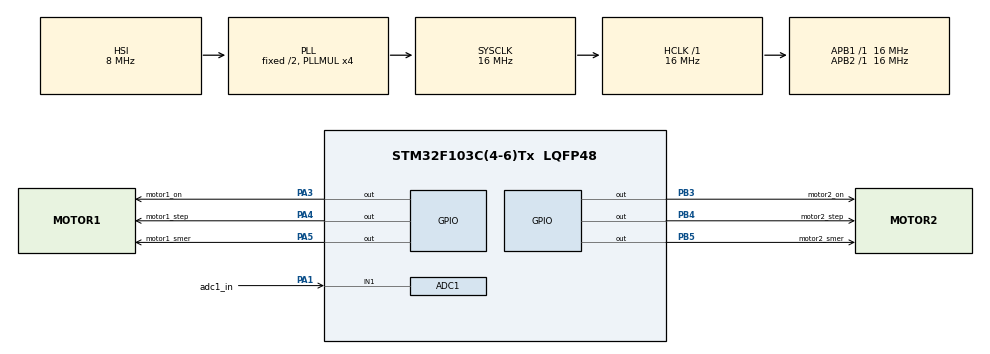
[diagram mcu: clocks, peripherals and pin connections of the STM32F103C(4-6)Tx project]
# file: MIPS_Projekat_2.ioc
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ADC1.Channel-0\#ChannelRegularConversion=ADC_CHANNEL_1
ADC1.NbrOfConversionFlag=1
ADC1.Rank-0\#ChannelRegularConversion=1
ADC1.SamplingTime-0\#ChannelRegularConversion=ADC_SAMPLETIME_1CYCLE_5
ADC1.master=1
Mcu.Family=STM32F1
Mcu.Name=STM32F103C(4-6)Tx
Mcu.Package=LQFP48
NVIC.ADC1_2_IRQn=true\:0\:0\:false\:false\:true\:true\:true\:true
NVIC.PriorityGroup=NVIC_PRIORITYGROUP_4
NVIC.TIM2_IRQn=true\:0\:0\:false\:false\:true\:true\:true\:true
PA1.GPIO_Label=adc1_in
PA1.Signal=ADCx_IN1
PA3.GPIO_Label=motor1_on
PA3.Signal=GPIO_Output
PA4.GPIO_Label=motor1_step
PA4.Signal=GPIO_Output
PA5.GPIO_Label=motor1_smer
PA5.Signal=GPIO_Output
PB3.GPIO_Label=motor2_on
PB3.Signal=GPIO_Output
PB4.GPIO_Label=motor2_step
PB4.Signal=GPIO_Output
PB5.GPIO_Label=motor2_smer
PB5.Signal=GPIO_Output
ProjectManager.HeapSize=0x200
ProjectManager.StackSize=0x400
ProjectManager.TargetToolchain=STM32CubeIDE
RCC.AHBFreq_Value=16000000
RCC.APB1Freq_Value=16000000
RCC.APB1TimFreq_Value=16000000
RCC.APB2Freq_Value=16000000
RCC.APB2TimFreq_Value=16000000
RCC.HCLKFreq_Value=16000000
RCC.PLLMUL=RCC_PLL_MUL4
RCC.SYSCLKFreq_VALUE=16000000
RCC.SYSCLKSource=RCC_SYSCLKSOURCE_PLLCLK
RCC.USBFreq_Value=16000000
SH.ADCx_IN1.0=ADC1_IN1,IN1
TIM2.AutoReloadPreload=TIM_AUTORELOAD_PRELOAD_ENABLE
TIM2.Period=35999
TIM2.Prescaler=39999
VP_SYS_VS_ND.Mode=No_Debug
VP_TIM2_VS_ClockSourceINT.Mode=Internal
board=custom

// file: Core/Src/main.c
/* USER CODE BEGIN Header */
/**
  ******************************************************************************
  * @file           : main.c
  * @brief          : Main program body
  ******************************************************************************
  * @attention
  *
  * Copyright (c) 2023 STMicroelectronics.
  * All rights reserved.
  *
  * This software is licensed under terms that can be found in the LICENSE file
  * in the root directory of this software component.
  * If no LICENSE file comes with this software, it is provided AS-IS.
  *
  ******************************************************************************
  */
/* USER CODE END Header */
#include "main.h"

ADC_HandleTypeDef hadc1;

TIM_HandleTypeDef htim2;

/* USER CODE BEGIN PV */
uint8_t maxTemperatura  = 75;
uint8_t epruvete[] = {3, 1, 4, 1, 0, 1, 1, 2, 3, 3, 4, 2, 3, 0, 3};
int targetEpruveta = 2;
uint8_t flag;
uint16_t indeks = 0; /*prvobitno je zamisljeno da se ova promenljiva zove index ali da bih izbegao warning sam preimenovao */
uint16_t brojac = 0;
/* USER CODE END PV */

void SystemClock_Config(void);
static void MX_GPIO_Init(void);
static void MX_ADC1_Init(void);
static void MX_TIM2_Init(void);
/* USER CODE BEGIN PFP */
double racunajTemperaturu()
{
	HAL_ADC_Start(&hadc1);
	HAL_ADC_PollForConversion(&hadc1, HAL_MAX_DELAY);
	uint16_t ADC = HAL_ADC_GetValue(&hadc1);

	double volt = (double)ADC * (3.3 / 4096);
	double temperatura = (volt - 0.5) * 100.0;
	return temperatura;
}
void HAL_TIM_PeriodElapsedCallback(TIM_HandleTypeDef *htim)
{
	double temperatura = racunajTemperaturu();
	if (temperatura >= maxTemperatura)
	{
		flag = 1;
	}
	else
	{
		flag = 0;
	}
}

void dodjiNaTarget(uint8_t* niz,uint16_t pozicija, uint8_t target)
{
	HAL_GPIO_WritePin(GPIOA, motor1_on_Pin, GPIO_PIN_SET);
	uint8_t i = 0;
	uint8_t levo, desno;
	levo = 0;
	desno = 0;
	while (niz[pozicija + i] != target)
	{
		i--;
		if ((pozicija + i) < 0)
		{
			pozicija = 14;
		}
		levo ++;
	}
	i=0;
	while (niz[pozicija + i] != target)
	{
		i++;
		if ((pozicija + i) > 14)
		{
			pozicija = 0;
		}
		desno ++;
	}
	if (levo >= desno)
	{
		HAL_GPIO_WritePin(GPIOA, motor1_smer_Pin, GPIO_PIN_SET);
		for (i=0; i<desno*13; i++)
		{
			HAL_GPIO_WritePin(GPIOA, motor1_step_Pin, GPIO_PIN_SET);
			HAL_Delay(100);
			HAL_GPIO_WritePin(GPIOA, motor1_step_Pin, GPIO_PIN_RESET);
			HAL_Delay(100);
		}
	}
	else
	{
		HAL_GPIO_WritePin(GPIOA, motor1_smer_Pin, GPIO_PIN_RESET);
		for (i=0; i<levo*13; i++)
		{
			HAL_GPIO_WritePin(GPIOA, motor1_step_Pin, GPIO_PIN_SET);
			HAL_Delay(100);
			HAL_GPIO_WritePin(GPIOA, motor1_step_Pin, GPIO_PIN_RESET);
			HAL_Delay(100);
		}
	}

}
/* USER CODE END PFP */

int main(void)
{

  /* MCU Configuration--------------------------------------------------------*/

  /* Reset of all peripherals, Initializes the Flash interface and the Systick. */
  HAL_Init();

  /* Configure the system clock */
  SystemClock_Config();

  /* Initialize all configured peripherals */
  MX_GPIO_Init();
  MX_ADC1_Init();
  MX_TIM2_Init();
  /* USER CODE BEGIN 2 */
  HAL_TIM_Base_Start_IT(&htim2);
  /* USER CODE END 2 */

  /* Infinite loop */
  while (1)
  {
	while(flag == 0)
	{
	 	HAL_GPIO_WritePin(GPIOA, motor1_step_Pin, GPIO_PIN_SET);
	 	HAL_Delay(100);
	 	HAL_GPIO_WritePin(GPIOA, motor1_step_Pin, GPIO_PIN_RESET);
	 	HAL_Delay(100);
	 	brojac++;
	 	if (brojac == 13)
	 	{
	 		indeks ++;
	 		brojac = 0;
	 		if (indeks == 14)
	 			{
	 				  indeks = 0;
	 			}
	 	}
	}
	if (flag == 1)
	{
		HAL_GPIO_WritePin(GPIOA, motor1_on_Pin, GPIO_PIN_RESET);
		dodjiNaTarget(epruvete, indeks, targetEpruveta);
		/*Odnosenje epruvete uz pomoc motora2 */
		HAL_GPIO_WritePin(GPIOB, motor2_on_Pin, GPIO_PIN_SET);
		HAL_GPIO_WritePin(GPIOB, motor2_smer_Pin, GPIO_PIN_RESET);
		for (uint8_t i=0; i<200; i++)
		{
			HAL_GPIO_WritePin(GPIOB, motor2_step_Pin, GPIO_PIN_SET);
			HAL_Delay(100);
			HAL_GPIO_WritePin(GPIOB, motor2_step_Pin, GPIO_PIN_RESET);
			HAL_Delay(100);
		}
	}
  }
}

void SystemClock_Config(void)
{
  RCC_OscInitTypeDef RCC_OscInitStruct = {0};
  RCC_ClkInitTypeDef RCC_ClkInitStruct = {0};
  RCC_PeriphCLKInitTypeDef PeriphClkInit = {0};

  /** Initializes the RCC Oscillators according to the specified parameters
  * in the RCC_OscInitTypeDef structure.
  */
  RCC_OscInitStruct.OscillatorType = RCC_OSCILLATORTYPE_HSI;
  RCC_OscInitStruct.HSIState = RCC_HSI_ON;
  RCC_OscInitStruct.HSICalibrationValue = RCC_HSICALIBRATION_DEFAULT;
  RCC_OscInitStruct.PLL.PLLState = RCC_PLL_ON;
  RCC_OscInitStruct.PLL.PLLSource = RCC_PLLSOURCE_HSI_DIV2;
  RCC_OscInitStruct.PLL.PLLMUL = RCC_PLL_MUL4;
  if (HAL_RCC_OscConfig(&RCC_OscInitStruct) != HAL_OK)
  {
    Error_Handler();
  }

  /** Initializes the CPU, AHB and APB buses clocks
  */
  RCC_ClkInitStruct.ClockType = RCC_CLOCKTYPE_HCLK|RCC_CLOCKTYPE_SYSCLK
                              |RCC_CLOCKTYPE_PCLK1|RCC_CLOCKTYPE_PCLK2;
  RCC_ClkInitStruct.SYSCLKSource = RCC_SYSCLKSOURCE_PLLCLK;
  RCC_ClkInitStruct.AHBCLKDivider = RCC_SYSCLK_DIV1;
  RCC_ClkInitStruct.APB1CLKDivider = RCC_HCLK_DIV1;
  RCC_ClkInitStruct.APB2CLKDivider = RCC_HCLK_DIV1;

  if (HAL_RCC_ClockConfig(&RCC_ClkInitStruct, FLASH_LATENCY_0) != HAL_OK)
  {
    Error_Handler();
  }
  PeriphClkInit.PeriphClockSelection = RCC_PERIPHCLK_ADC;
  PeriphClkInit.AdcClockSelection = RCC_ADCPCLK2_DIV2;
  if (HAL_RCCEx_PeriphCLKConfig(&PeriphClkInit) != HAL_OK)
  {
    Error_Handler();
  }
}

static void MX_ADC1_Init(void)
{

  ADC_ChannelConfTypeDef sConfig = {0};

  /** Common config
  */
  hadc1.Instance = ADC1;
  hadc1.Init.ScanConvMode = ADC_SCAN_DISABLE;
  hadc1.Init.ContinuousConvMode = DISABLE;
  hadc1.Init.DiscontinuousConvMode = DISABLE;
  hadc1.Init.ExternalTrigConv = ADC_SOFTWARE_START;
  hadc1.Init.DataAlign = ADC_DATAALIGN_RIGHT;
  hadc1.Init.NbrOfConversion = 1;
  if (HAL_ADC_Init(&hadc1) != HAL_OK)
  {
    Error_Handler();
  }

  /** Configure Regular Channel
  */
  sConfig.Channel = ADC_CHANNEL_1;
  sConfig.Rank = ADC_REGULAR_RANK_1;
  sConfig.SamplingTime = ADC_SAMPLETIME_1CYCLE_5;
  if (HAL_ADC_ConfigChannel(&hadc1, &sConfig) != HAL_OK)
  {
    Error_Handler();
  }

}

static void MX_TIM2_Init(void)
{

  TIM_ClockConfigTypeDef sClockSourceConfig = {0};
  TIM_MasterConfigTypeDef sMasterConfig = {0};

  htim2.Instance = TIM2;
  htim2.Init.Prescaler = 39999;
  htim2.Init.CounterMode = TIM_COUNTERMODE_UP;
  htim2.Init.Period = 35999;
  htim2.Init.ClockDivision = TIM_CLOCKDIVISION_DIV1;
  htim2.Init.AutoReloadPreload = TIM_AUTORELOAD_PRELOAD_ENABLE;
  if (HAL_TIM_Base_Init(&htim2) != HAL_OK)
  {
    Error_Handler();
  }
  sClockSourceConfig.ClockSource = TIM_CLOCKSOURCE_INTERNAL;
  if (HAL_TIM_ConfigClockSource(&htim2, &sClockSourceConfig) != HAL_OK)
  {
    Error_Handler();
  }
  sMasterConfig.MasterOutputTrigger = TIM_TRGO_RESET;
  sMasterConfig.MasterSlaveMode = TIM_MASTERSLAVEMODE_DISABLE;
  if (HAL_TIMEx_MasterConfigSynchronization(&htim2, &sMasterConfig) != HAL_OK)
  {
    Error_Handler();
  }

}

static void MX_GPIO_Init(void)
{
  GPIO_InitTypeDef GPIO_InitStruct = {0};

  /* GPIO Ports Clock Enable */
  __HAL_RCC_GPIOA_CLK_ENABLE();
  __HAL_RCC_GPIOB_CLK_ENABLE();

  /*Configure GPIO pin Output Level */
  HAL_GPIO_WritePin(GPIOA, motor1_on_Pin|motor1_step_Pin|motor1_smer_Pin, GPIO_PIN_RESET);

  /*Configure GPIO pin Output Level */
  HAL_GPIO_WritePin(GPIOB, motor2_on_Pin|motor2_step_Pin|motor2_smer_Pin, GPIO_PIN_RESET);

  /*Configure GPIO pins : motor1_on_Pin motor1_step_Pin motor1_smer_Pin */
  GPIO_InitStruct.Pin = motor1_on_Pin|motor1_step_Pin|motor1_smer_Pin;
  GPIO_InitStruct.Mode = GPIO_MODE_OUTPUT_PP;
  GPIO_InitStruct.Pull = GPIO_NOPULL;
  GPIO_InitStruct.Speed = GPIO_SPEED_FREQ_LOW;
  HAL_GPIO_Init(GPIOA, &GPIO_InitStruct);

  /*Configure GPIO pins : motor2_on_Pin motor2_step_Pin motor2_smer_Pin */
  GPIO_InitStruct.Pin = motor2_on_Pin|motor2_step_Pin|motor2_smer_Pin;
  GPIO_InitStruct.Mode = GPIO_MODE_OUTPUT_PP;
  GPIO_InitStruct.Pull = GPIO_NOPULL;
  GPIO_InitStruct.Speed = GPIO_SPEED_FREQ_LOW;
  HAL_GPIO_Init(GPIOB, &GPIO_InitStruct);

}

void Error_Handler(void)
{
  __disable_irq();
  while (1)
  {
  }
}
